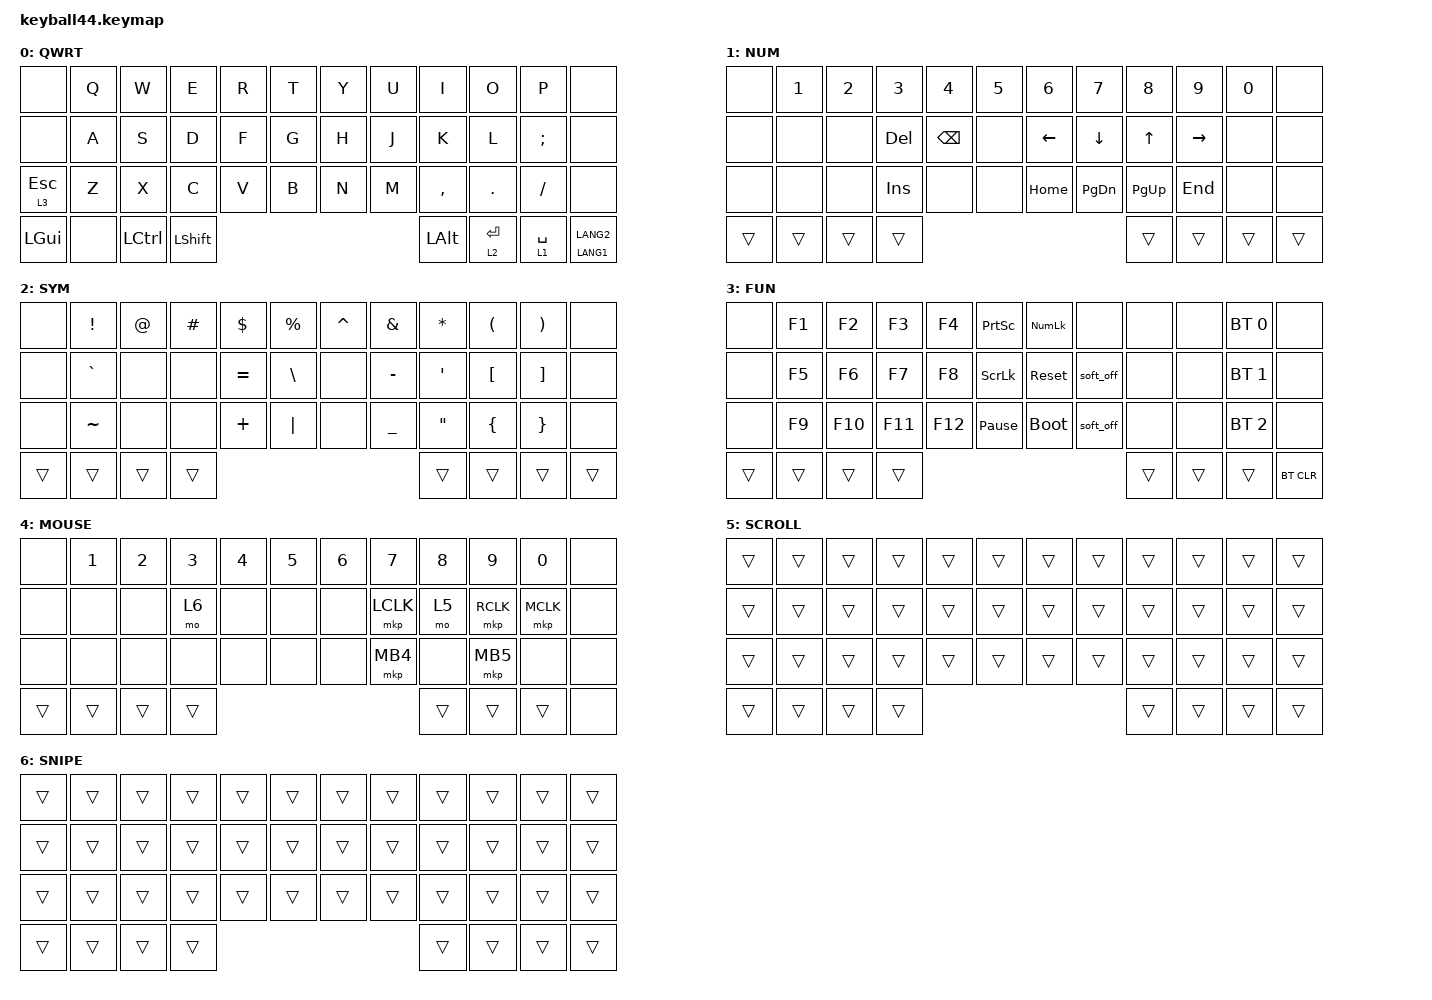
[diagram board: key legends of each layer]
#define DEFAULT 0
#define NUM     1
#define SYM     2
#define FUN     3
#define MOUSE   4
#define SCROLL  5
#define SNIPE   6

#include <behaviors/mouse_keys.dtsi>
#include <dt-bindings/zmk/mouse.h>
#include <behaviors.dtsi>
#include <dt-bindings/zmk/bt.h>
#include <dt-bindings/zmk/keys.h>
#include <dt-bindings/zmk/pointing.h>

&lt {
    tapping-term-ms = <240>;
    flavor = "balanced";
    quick-tap-ms = <150>;
};

&mt {
    tapping-term-ms = <200>;
    flavor = "tap-preferred";
    quick-tap-ms = <150>;
};

&caps_word { continue-list = <UNDERSCORE MINUS>; };

/ {
    // custom shift using mod-morph 

    behaviors {
        cmqus: comma_question {
            compatible = "zmk,behavior-mod-morph";
            label = "COMMA_QUESTION";
            #binding-cells = <0>;
            bindings = <&kp COMMA>, <&kp QUESTION>;

            mods = <(MOD_LSFT|MOD_RSFT)>;
        };

        dtsmi: dot_semi {
            compatible = "zmk,behavior-mod-morph";
            label = "DOT_SEMI";
            #binding-cells = <0>;
            bindings = <&kp DOT>, <&kp SEMI>;

            mods = <(MOD_LSFT|MOD_RSFT)>;
        };

        ime: ime {
            compatible = "zmk,behavior-tap-dance";
            label = "IME";
            #binding-cells = <0>;
            bindings = <&kp LEFT_ALT>, <&kp RIGHT_ALT>, <&sl 3>;
        };
    };

    combos {
        compatible = "zmk,combos";

        CTAB {
            bindings = <&kp TAB>;
            key-positions = <16 15>;
        };

        FUNC {
            bindings = <&mo 3>;
            key-positions = <41 42>;
            layers = <0>;
        };

        CESC {
            bindings = <&kp ESCAPE>;
            key-positions = <14 15>;
        };
    };

    keymap {
        compatible = "zmk,keymap";

        default_layer {
            label = "QWRT";
            bindings = <
&none         &kp Q  &kp W             &kp E           &kp R         &kp T                   &kp Y        &kp U  &kp I      &kp O    &kp P          &none
&none         &kp A  &kp S             &kp D           &kp F         &kp G                   &kp H        &kp J  &kp K      &kp L    &kp SEMICOLON  &none
&lt 3 ESCAPE  &kp Z  &kp X             &kp C           &kp V         &kp B                   &kp N        &kp M  &kp COMMA  &kp DOT  &kp SLASH      &none
&kp LGUI      &none  &kp LEFT_CONTROL  &kp LEFT_SHIFT  &kp LEFT_ALT             &lt 2 ENTER  &lt 1 SPACE                                            &mt LANG1 LANG2
            >;
        };

        number_layer {
            label = "NUM";
            bindings = <
&none   &kp NUMBER_1  &kp NUMBER_2  &kp NUMBER_3  &kp NUMBER_4   &kp NUMBER_5              &kp NUMBER_6  &kp NUMBER_7   &kp NUMBER_8  &kp NUMBER_9  &kp NUMBER_0  &none
&none   &none         &none         &kp DELETE    &kp BACKSPACE  &none                     &kp LEFT      &kp DOWN       &kp UP        &kp RIGHT     &none         &none
&none   &none         &none         &kp INSERT    &none          &none                     &kp HOME      &kp PAGE_DOWN  &kp PAGE_UP   &kp END       &none         &none
&trans  &trans        &trans        &trans        &trans                           &trans  &trans                                                                 &trans
            >;
        };

        symbol_layer {
            label = "SYM";
            bindings = <
&none   &kp EXCLAMATION  &kp AT_SIGN  &kp HASH  &kp DOLLAR  &kp PERCENT                &kp CARET  &kp AMPERSAND   &kp ASTERISK       &kp LEFT_PARENTHESIS  &kp RIGHT_PARENTHESIS  &none
&none   &kp GRAVE        &none        &none     &kp EQUAL   &kp BACKSLASH              &none      &kp MINUS       &kp SINGLE_QUOTE   &kp LEFT_BRACKET      &kp RIGHT_BRACKET      &none
&none   &kp TILDE        &none        &none     &kp PLUS    &kp PIPE                   &none      &kp UNDERSCORE  &kp DOUBLE_QUOTES  &kp LEFT_BRACE        &kp RIGHT_BRACE        &none
&trans  &trans           &trans       &trans    &trans                         &trans  &trans                                                                                     &trans
            >;
        };

        function_layer {
            label = "FUN";
            bindings = <
&none   &kp F1  &kp F2   &kp F3   &kp F4   &kp PRINTSCREEN              &kp KP_NUMLOCK  &none      &none  &none  &bt BT_SEL 0  &none
&none   &kp F5  &kp F6   &kp F7   &kp F8   &kp SCROLLLOCK               &sys_reset      &soft_off  &none  &none  &bt BT_SEL 1  &none
&none   &kp F9  &kp F10  &kp F11  &kp F12  &kp PAUSE_BREAK              &bootloader     &soft_off  &none  &none  &bt BT_SEL 2  &none
&trans  &trans  &trans   &trans   &trans                        &trans  &trans                                                 &bt BT_CLR
            >;
        };

        mouse_layer {
            label = "MOUSE";
            bindings = <
&none   &kp N1  &kp N2  &kp N3  &kp N4  &kp N5              &kp N6  &kp N7     &kp N8  &kp N9     &kp N0     &none
&none   &none   &none   &mo 6   &none   &none               &none   &mkp LCLK  &mo 5   &mkp RCLK  &mkp MCLK  &none
&none   &none   &none   &none   &none   &none               &none   &mkp MB4   &none   &mkp MB5   &none      &none
&trans  &trans  &trans  &trans  &trans              &trans  &trans                                           &none
            >;
        };

        scroll_layer {
            label = "SCROLL";
            bindings = <
&trans  &trans  &trans  &trans  &trans  &trans              &trans  &trans  &trans  &trans  &trans  &trans
&trans  &trans  &trans  &trans  &trans  &trans              &trans  &trans  &trans  &trans  &trans  &trans
&trans  &trans  &trans  &trans  &trans  &trans              &trans  &trans  &trans  &trans  &trans  &trans
&trans  &trans  &trans  &trans  &trans              &trans  &trans                                  &trans
            >;
        };

        snipe_layer {
            label = "SNIPE";
            bindings = <
&trans  &trans  &trans  &trans  &trans  &trans              &trans  &trans  &trans  &trans  &trans  &trans
&trans  &trans  &trans  &trans  &trans  &trans              &trans  &trans  &trans  &trans  &trans  &trans
&trans  &trans  &trans  &trans  &trans  &trans              &trans  &trans  &trans  &trans  &trans  &trans
&trans  &trans  &trans  &trans  &trans              &trans  &trans                                  &trans
            >;
        };
    };
};
